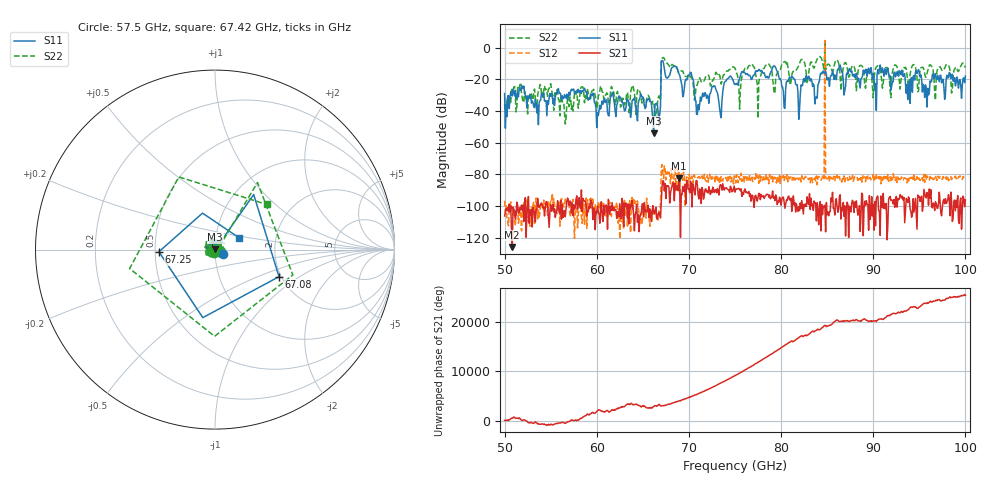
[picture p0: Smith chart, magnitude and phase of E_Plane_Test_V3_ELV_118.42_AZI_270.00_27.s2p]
! 11/26/2026 4:17:19 PM
! C:\ANRITSUVNA\TEMP\TEMP.S2P
! CHANNEL.1
! TR.MEASUREMENT
! RAW.DATA
# HZ S RI R 50.0
! FREQ.HZ  S11RE  S11IM  S21RE  S21IM  S12RE  S12IM  S22RE  S22IM
!; PortSelection: Port_12
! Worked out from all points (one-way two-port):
!   601 points, 50 GHz to 100 GHz, reference 50 ohm
!   highest |S21| = -82.30 dB at 68.92 GHz (marker M1); lowest = -126.0 dB at 50.83 GHz (marker M2)
!   lowest |S11| = -54.0 dB at 66.17 GHz (marker M3), VSWR 1.00, Z = 50.1 + j0.143 ohm
!   |S11| at or under -10 dB: start of sweep to 67 GHz; 67.25 GHz to end of sweep
!   |S22| runs from -48.2 to 2.6 dB; largest |S21 - S12| = 1.7
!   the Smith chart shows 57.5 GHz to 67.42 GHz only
!   S11 on the Smith chart (normalised r, x): 57.5 GHz: 1.09, -0.05; 67.08 GHz: 1.95, -0.69; 67.25 GHz: 0.52, -0.01; 67.42 GHz: 1.29, +0.18
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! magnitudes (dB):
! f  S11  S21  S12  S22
! 50 GHz  -29.0  -106.4  -96.8  -35.7
! 50.83 GHz  -30.6  -126.0  -104.5  -25.5
! 57.5 GHz  -26.2  -99.3  -106.0  -34.6
! 58.42 GHz  -27.2  -103.7  -111.1  -24.7
! 60.17 GHz  -42.9  -104.0  -97.4  -30.4
! 66.17 GHz  -54.0  -103.0  -104.4  -34.0
! 66.67 GHz  -41.5  -104.9  -108.8  -31.6
! 67.08 GHz  -8.2  -87.8  -73.9  -6.8
! 67.25 GHz  -10.1  -84.3  -82.7  -6.2
! 67.42 GHz  -16.6  -85.9  -76.2  -8.3
! 68.92 GHz  -16.6  -82.3  -78.3  -15.4
! 70.25 GHz  -16.0  -85.8  -82.7  -18.8
! 70.92 GHz  -42.1  -87.0  -82.0  -23.1
! 75 GHz  -23.3  -91.3  -81.7  -13.0
! 79.25 GHz  -11.5  -94.3  -82.0  -28.9
! 80.25 GHz  -27.9  -94.6  -80.7  -9.3
! 83.42 GHz  -24.5  -98.9  -85.3  -10.8
! 84.42 GHz  -16.6  -99.1  -82.8  -7.4
! 84.5 GHz  -15.1  -105.4  -81.4  -9.2
! 85.08 GHz  -18.9  -103.8  -82.6  -10.4
! 91.67 GHz  -16.7  -95.6  -84.5  -15.2
! 100 GHz  -17.9  -96.2  -82.1  -12.6
